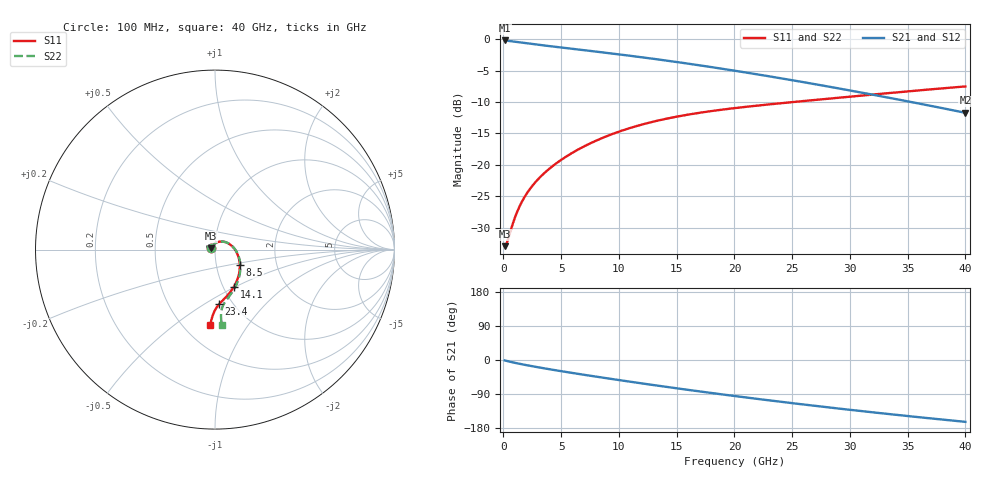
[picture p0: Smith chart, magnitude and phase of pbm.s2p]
! D_s8_stitch_none: physics-based via model (prototype), ports at the via
# Hz S RI R 50
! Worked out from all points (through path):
!   400 points, 100 MHz to 40 GHz, reference 50 ohm
!   highest |S21| = -0.22 dB at 100 MHz (marker M1); lowest = -11.7 dB at 40 GHz (marker M2)
!   group delay of S21, straight-line fit = 11 ps
!   lowest |S11| = -32.9 dB at 100 MHz (marker M3), VSWR 1.05, Z = 47.9 + j0.677 ohm
!   |S11| at or under -10 dB: start of sweep to 25.17 GHz
!   |S22| runs from -32.9 to -7.5 dB; largest |S21 - S12| = 0
!   S11 on the Smith chart (normalised r, x): 100 MHz: 0.96, +0.01; 8.5 GHz: 1.30, -0.23; 14.1 GHz: 1.12, -0.49; 23.4 GHz: 0.87, -0.58; 40 GHz: 0.67, -0.68
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1e8  -0.0214 0.00706  0.9752 -0.0158  0.9752 -0.0158  -0.0214 0.00705
3e8  -0.0165 0.0175  0.97 -0.0437  0.97 -0.0437  -0.0165 0.0175
9e8  0.00242 0.0359  0.9482 -0.1144  0.9482 -0.1144  0.00229 0.0359
1.3e9  0.0156 0.0419  0.9316 -0.1551  0.9316 -0.1551  0.0154 0.042
1.8e9  0.0317 0.0448  0.9094 -0.2012  0.9094 -0.2012  0.0314 0.0451
2.4e9  0.0499 0.0435  0.8812 -0.2513  0.8812 -0.2513  0.0495 0.044
3.2e9  0.0718 0.0358  0.8416 -0.311  0.8416 -0.311  0.0713 0.0367
4.2e9  0.0947 0.0195  0.7895 -0.3762  0.7895 -0.3762  0.0944 0.021
5.4e9  0.1156 -0.0065  0.7239 -0.4429  0.7239 -0.4429  0.1157 -0.00406
6.8e9  0.131 -0.0414  0.6442 -0.5069  0.6442 -0.5069  0.132 -0.0379
8.5e9  0.1381 -0.0857  0.5444 -0.5663  0.5444 -0.5663  0.1409 -0.0811
1.09e10  0.1316 -0.1444  0.4021 -0.6189  0.4021 -0.6189  0.1376 -0.1387
1.34e10  0.1118 -0.1953  0.259 -0.6382  0.259 -0.6382  0.1218 -0.1892
1.41e10  0.1051 -0.2074  0.2208 -0.6378  0.2208 -0.6378  0.1162 -0.2013
1.69e10  0.0766 -0.247  0.0799 -0.6149  0.0799 -0.6149  0.0926 -0.2415
2.01e10  0.0469 -0.2791  -0.0525 -0.5565  -0.0525 -0.5565  0.0684 -0.2746
2.34e10  0.0232 -0.304  -0.1539 -0.4744  -0.1539 -0.4744  0.0506 -0.3007
2.67e10  0.00652 -0.3261  -0.2211 -0.3832  -0.2211 -0.3832  0.04 -0.3238
2.99e10  -0.00498 -0.3475  -0.2576 -0.2952  -0.2576 -0.2952  0.035 -0.3459
3.34e10  -0.0143 -0.3719  -0.2716 -0.2066  -0.2716 -0.2066  0.0335 -0.3707
3.67e10  -0.0213 -0.3955  -0.2661 -0.1343  -0.2661 -0.1343  0.0346 -0.3947
4e10  -0.0268 -0.4193  -0.2482 -0.0748  -0.2482 -0.0748  0.0378 -0.4185
